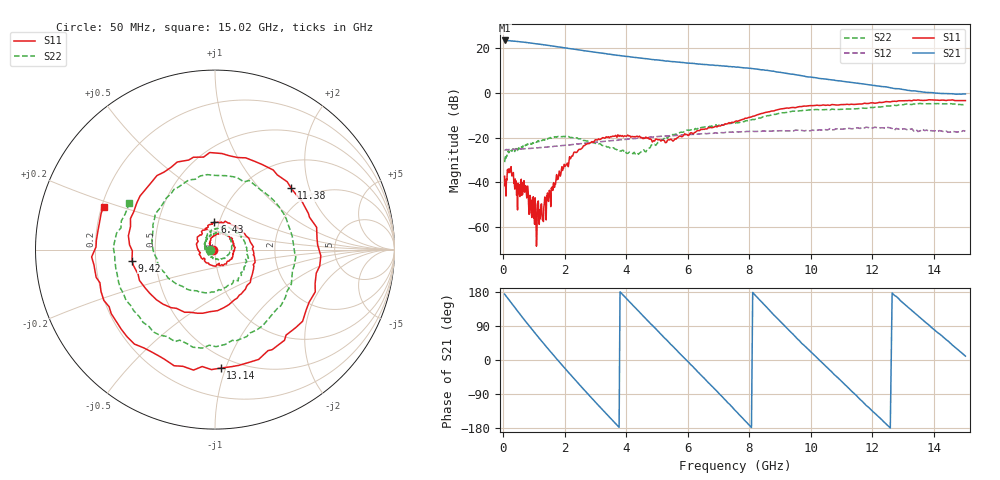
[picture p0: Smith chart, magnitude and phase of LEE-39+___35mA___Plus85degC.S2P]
! Mini-Circuits
! S2P DATA File Format
! Type: MMIC Amplifier
! Model: LEE-39+
! TEST CONDITIONS: INPUT POWER = -25dBm, Icc = 35mA, Vd = 3.45V @Temperature = +85degC
! 401 Frequency points
! S Parameters are in dB deg format
# MHz S DB R 50
!  FREQ  dB(S11)  PHS(S11)  dB(S21)  PHS(S21)  dB(S12)  PHS(S12)  dB(S22)  PHS(S22)
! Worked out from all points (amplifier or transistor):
!   401 points, 50 MHz to 15.02 GHz, reference 50 ohm
!   highest |S21| = 23.2 dB at 65 MHz (marker M1)
!   |S21| within 3 dB of that: start of sweep to 1.856 GHz
!   unconditionally stable (mu >= 1): start of sweep to end of sweep
!   at 1.04 GHz: K = 1.05, MAG = 21.8 dB, |S12| = -24.7 dB
!   at 4.57 GHz: K = 1.15, MAG = 15.2 dB, |S12| = -20.1 dB
!   at 15.02 GHz: K = 1.59, MAG = 3.8 dB, |S12| = -17.2 dB
!   S11 on the Smith chart (normalised r, x): 50 MHz: 0.97, -0.01; 6.43 GHz: 0.95, +0.30; 9.42 GHz: 0.37, -0.06; 11.38 GHz: 1.57, +1.52; 13.14 GHz: 0.41, -0.96; 15.02 GHz: 0.21, +0.18
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50  -37.23 -158.7  23.17 173.9  -25.41 -1.6  -30.94 -179.5
65  -41.62 168.1  23.19 172.4  -25.56 -3.2  -29.15 175.3
410  -41.60 161.7  22.83 135.1  -25.22 -21.8  -25.43 176.7
740  -41.55 126.7  22.34 100.9  -24.98 -39.6  -23.28 145.8
1040  -46.80 99.8  21.80 70.7  -24.66 -56.9  -22.18 118.6
1475  -48.43 155.2  20.96 28.3  -24.18 -82.1  -20.31 80.5
1950  -33.78 147.4  20.00 -16.4  -23.56 -110.5  -19.56 45.1
2580  -24.53 113.2  18.73 -74.0  -22.66 -150.3  -20.70 1.5
3170  -20.75 71.5  17.57 -126.1  -21.86 171.0  -22.91 -43.9
3660  -19.01 37.3  16.70 -168.3  -21.21 138.3  -25.19 -77.0
4430  -19.37 -28.3  15.43 126.6  -20.23 85.0  -26.98 -160.0
5060  -20.96 -104.7  14.45 73.9  -19.57 40.0  -22.12 128.5
5760  -19.38 160.7  13.41 15.6  -18.86 -10.6  -17.65 73.8
6430  -16.26 91.2  12.60 -39.8  -18.33 -59.5  -15.58 23.5
7550  -12.76 -15.0  11.36 -133.6  -17.55 -142.7  -13.55 -61.6
8580  -8.69 -105.3  9.91 137.9  -17.16 138.7  -10.30 -148.7
9420  -6.62 -172.4  8.16 68.2  -17.09 76.4  -8.23 149.1
10060  -5.82 138.7  6.74 16.9  -16.69 28.8  -7.81 105.5
11380  -5.28 38.9  4.40 -86.4  -16.03 -68.9  -7.26 13.7
12580  -4.16 -50.3  2.16 -179.3  -15.70 -162.2  -5.96 -67.4
13140  -3.60 -87.3  1.01 140.0  -16.61 152.5  -5.07 -102.7
15020  -3.55 158.8  -0.60 10.2  -17.18 29.9  -5.29 151.8
